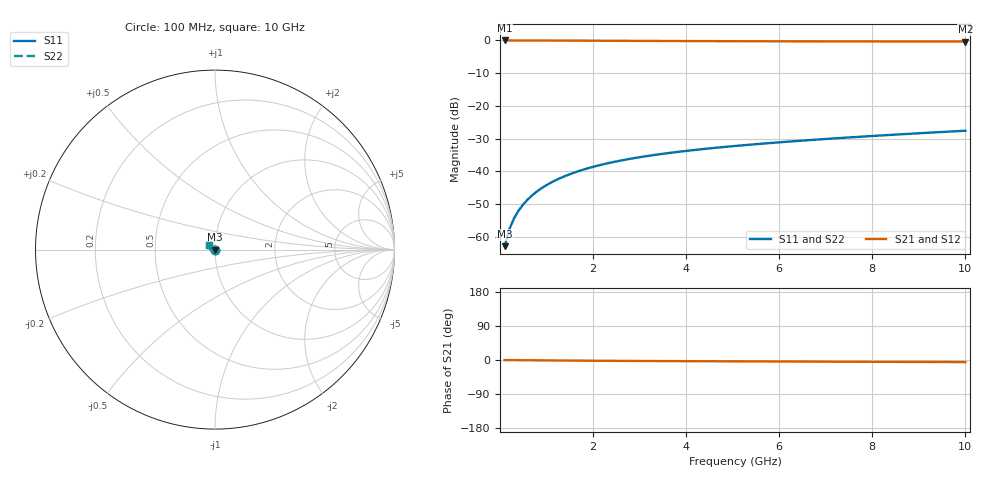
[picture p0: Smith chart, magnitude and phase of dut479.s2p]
! Touchstone file exported from HFSS 2024.1.0
!  File:  C:/UserFiles/LocalFiles/RDL_TSV_Batchsim/temp_TSV1_479_1779699286.aedt
!  Generated:  05:02:56 PM May 25, 2026
!  Design:  TSV1
!  Project:  temp_TSV1_479_1779699286
!  Setup:  Setup1
!  Solution:  Sweep
! Variables:
!  dtsv = 6.28um
!  hbump = 3um
!  htsv = 80.7um
!  lrdl = 252.1521522um
!  p = 40
!  p1 = 55.3um
!  t = 500um
!  trdl = 3um
!  wrdl = 24.89489489um
# GHz S MA R 50.000000
! Terminal data exported
! Port[1] = TSV22_T1
! Port[2] = TSV22_T2
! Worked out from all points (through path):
!   100 points, 100 MHz to 10 GHz, reference 50 ohm
!   highest |S21| = 0.00 dB at 100 MHz (marker M1); lowest = -0.3 dB at 10 GHz (marker M2)
!   lowest |S11| = -62.8 dB at 100 MHz (marker M3), VSWR 1.00, Z = 50 - j0.064 ohm
!   |S11| at or under -10 dB: start of sweep to end of sweep
!   |S22| runs from -62.8 to -27.6 dB; largest |S21 - S12| = 6.1e-15
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0.1  0.0007224 -62.4  0.9996 -0.1  0.9996 -0.1  0.0007224 -62.4
! Gamma 0 0 0 0
! Port Impedance 50 0 50 0
0.2  0.001301 -78.8  0.9995 -0.2  0.9995 -0.2  0.001301 -78.8
0.3  0.001908 -86.5  0.9994 -0.3  0.9994 -0.3  0.001908 -86.5
0.4  0.002522 -91.7  0.9992 -0.4  0.9992 -0.4  0.002522 -91.7
0.5  0.003138 -95.7  0.9989 -0.5  0.9989 -0.5  0.003138 -95.7
0.6  0.003753 -99.2  0.9986 -0.6  0.9986 -0.6  0.003753 -99.2
0.7  0.004365 -102.4  0.9983 -0.7  0.9983 -0.7  0.004365 -102.4
0.8  0.004974 -105.3  0.9979 -0.9  0.9979 -0.9  0.004974 -105.3
0.9  0.005578 -108.1  0.9974 -1.0  0.9974 -1.0  0.005578 -108.1
1.1  0.00677 -113.4  0.9965 -1.1  0.9965 -1.1  0.00677 -113.4
1.4  0.008503 -120.7  0.9948 -1.4  0.9948 -1.4  0.008503 -120.7
1.6  0.009619 -125.3  0.9936 -1.6  0.9936 -1.6  0.009619 -125.3
1.8  0.0107 -129.7  0.9923 -1.8  0.9923 -1.8  0.0107 -129.7
2.1  0.01225 -136.0  0.9902 -2.0  0.9902 -2.0  0.01225 -136.0
2.5  0.01421 -143.8  0.9875 -2.3  0.9875 -2.3  0.01421 -143.8
2.9  0.01604 -151.1  0.9849 -2.5  0.9849 -2.5  0.01604 -151.1
3.4  0.01818 -159.4  0.9817 -2.8  0.9817 -2.8  0.01818 -159.4
4.2  0.02134 -171.1  0.9773 -3.2  0.9773 -3.2  0.02134 -171.1
5.1  0.02464 177.8  0.9733 -3.6  0.9733 -3.6  0.02464 177.8
6.7  0.03025 162.2  0.9682 -4.2  0.9682 -4.2  0.03025 162.2
8.4  0.03615 149.8  0.9646 -4.9  0.9646 -4.9  0.03615 149.8
10  0.04182 140.8  0.962 -5.5  0.962 -5.5  0.04182 140.8
